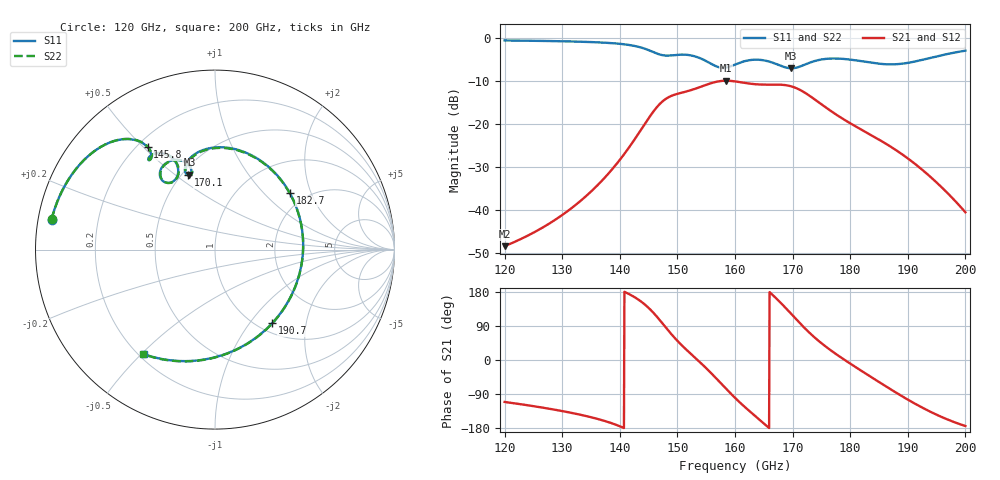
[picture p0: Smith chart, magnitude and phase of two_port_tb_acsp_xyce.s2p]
[Version] 2.0
# Hz S RI R 50
[Number of Ports] 2
[Two-Port Data Order] 12_21
[Reference] 50 50
!  Freq  ReS11  ImS11  ReS12  ImS12  ReS21  ImS21  ReS22  ImS22
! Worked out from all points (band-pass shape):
!   1001 points, 120 GHz to 200 GHz, reference 50 ohm
!   highest |S21| = -10.01 dB at 158.5 GHz (marker M1); lowest = -48.4 dB at 120 GHz (marker M2)
!   |S21| within 3 dB of the highest: 150.1 GHz to 172.4 GHz (22.26 GHz wide, 13.8 % of centre)
!   lowest |S11| = -7.1 dB at 169.8 GHz (marker M3), VSWR 2.57, Z = 27.2 + j28.2 ohm
!   |S11| at or under -10 dB: nowhere
!   |S22| runs from -7.2 to -0.7 dB; largest |S21 - S12| = 1.6e-08
!   S11 on the Smith chart (normalised r, x): 120 GHz: 0.04, +0.09; 145.8 GHz: 0.24, +0.51; 170.1 GHz: 0.54, +0.56; 182.7 GHz: 1.66, +1.43; 190.7 GHz: 1.16, -1.30; 200 GHz: 0.22, -0.51
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[Number of Frequencies] 22
[Network Data]
1.2e11  -0.9109 0.167  -0.00135 -0.00356  -0.00135 -0.00356  -0.9107 0.1678
1.2704e11  -0.8575 0.3154  -0.0039 -0.00522  -0.0039 -0.00522  -0.857 0.3165
1.3336e11  -0.7726 0.4512  -0.0107 -0.00747  -0.0107 -0.00747  -0.7717 0.4525
1.3936e11  -0.6324 0.5743  -0.0333 -0.00526  -0.0333 -0.00526  -0.6308 0.5756
1.4576e11  -0.3747 0.5696  -0.0801 0.1108  -0.0801 0.1108  -0.3723 0.5703
1.4672e11  -0.3566 0.5353  -0.0541 0.1547  -0.0541 0.1547  -0.3542 0.536
1.496e11  -0.3717 0.5055  0.1185 0.1835  0.1185 0.1835  -0.3692 0.5063
1.5376e11  -0.2575 0.5233  0.2637 -0.0169  0.2637 -0.0169  -0.2541 0.5235
1.5608e11  -0.205 0.4422  0.2355 -0.1844  0.2355 -0.1844  -0.2016 0.4417
1.5848e11  -0.252 0.3724  0.0743 -0.3072  0.0743 -0.3072  -0.2491 0.3718
1.6e11  -0.2951 0.3868  -0.0531 -0.3058  -0.0531 -0.3058  -0.2922 0.3865
1.6536e11  -0.2021 0.4993  -0.2819 -0.0392  -0.2819 -0.0392  -0.197 0.4985
1.676e11  -0.1381 0.4605  -0.2604 0.1156  -0.2604 0.1156  -0.1327 0.4582
1.6976e11  -0.1427 0.4166  -0.1427 0.2315  -0.1427 0.2315  -0.1381 0.4131
1.7008e11  -0.1479 0.4157  -0.119 0.2399  -0.119 0.2399  -0.1435 0.4121
1.7336e11  -0.1452 0.502  0.0829 0.1844  0.0829 0.1844  -0.1413 0.4989
1.78e11  0.1243 0.5567  0.1204 0.023  0.1204 0.023  0.1302 0.5518
1.8272e11  0.4173 0.3143  0.0646 -0.0471  0.0646 -0.0471  0.4217 0.3041
1.8672e11  0.4861 -0.0559  0.015 -0.0539  0.015 -0.0539  0.4845 -0.0684
1.9072e11  0.3187 -0.41  -0.0129 -0.0342  -0.0129 -0.0342  0.3112 -0.4194
1.9504e11  -0.0227 -0.6052  -0.0169 -0.012  -0.0169 -0.012  -0.0315 -0.6085
2e11  -0.3978 -0.5819  -0.00936 -0.000954  -0.00936 -0.000954  -0.4039 -0.5811
[End]
